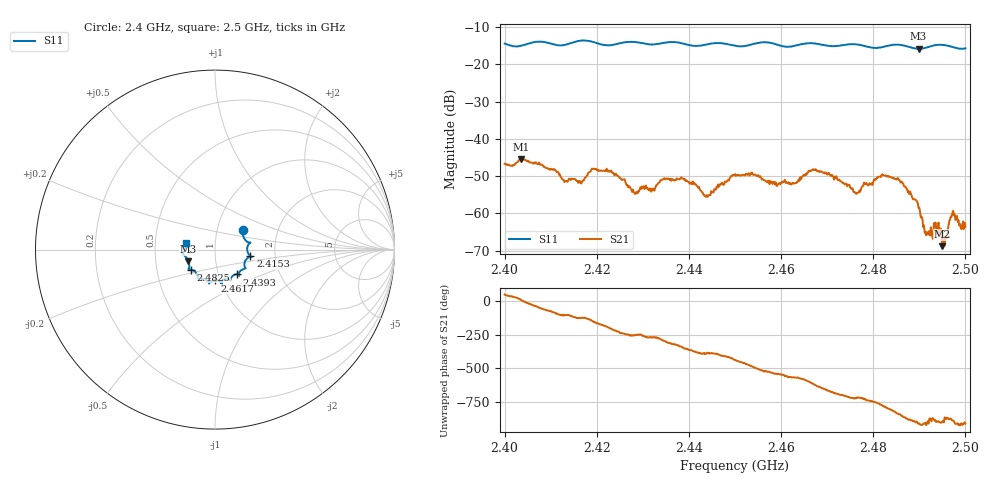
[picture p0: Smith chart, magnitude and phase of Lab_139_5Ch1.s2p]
# Hz S RI R 50
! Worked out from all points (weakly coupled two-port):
!   601 points, 2.4 GHz to 2.5 GHz, reference 50 ohm
!   highest |S21| = -45.50 dB at 2.4035 GHz (marker M1); lowest = -68.8 dB at 2.495 GHz (marker M2)
!   lowest |S11| = -15.9 dB at 2.4898 GHz (marker M3), VSWR 1.38, Z = 36.9 - j4.89 ohm
!   |S11| at or under -10 dB: start of sweep to end of sweep
!   S12 and S22 are empty: the file has one direction only
!   S11 on the Smith chart (normalised r, x): 2.4 GHz: 1.33, +0.30; 2.4153 GHz: 1.49, -0.12; 2.4393 GHz: 1.23, -0.35; 2.4617 GHz: 0.95, -0.33; 2.4825 GHz: 0.75, -0.17; 2.5 GHz: 0.72, +0.05
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2.4e9  0.1549 0.1091  0.00286 0.00364  0 0  0 0
2.4035e9  0.168 0.0547  0.00515 0.00128  0 0  0 0
2.415333e9  0.1972 -0.0373  -0.00132 -0.00256  0 0  0 0
2.416667e9  0.2039 -0.0418  -0.00137 -0.00211  0 0  0 0
2.419333e9  0.1941 -0.0409  -0.00351 -0.0018  0 0  0 0
2.4285e9  0.1684 -0.1049  -0.000618 0.00181  0 0  0 0
2.433333e9  0.1329 -0.1332  0.000283 0.00252  0 0  0 0
2.439333e9  0.1237 -0.1383  0.00268 0.000294  0 0  0 0
2.444167e9  0.086 -0.1653  0.00155 -0.000816  0 0  0 0
2.45e9  0.0665 -0.1642  0.000744 -0.00328  0 0  0 0
2.461667e9  0.00129 -0.1718  -0.00238 0.0011  0 0  0 0
2.466667e9  -0.0335 -0.189  -0.00114 0.00361  0 0  0 0
2.476333e9  -0.0942 -0.1592  0.00181 -0.000147  0 0  0 0
2.4825e9  -0.1325 -0.1114  0.00113 -0.00301  0 0  0 0
2.483333e9  -0.1398 -0.1105  0.000442 -0.00307  0 0  0 0
2.485833e9  -0.147 -0.1079  -0.00152 -0.00219  0 0  0 0
2.489833e9  -0.1477 -0.0646  -0.00115 0.00027  0 0  0 0
2.4915e9  -0.1621 -0.0416  -0.000458 0.000218  0 0  0 0
2.493667e9  -0.1798 -0.0248  -0.000638 2.51e-05  0 0  0 0
2.495e9  -0.1811 -0.0209  -0.000362 -1.11e-05  0 0  0 0
2.497167e9  -0.1707 -0.00818  -0.000982 -0.000189  0 0  0 0
2.5e9  -0.1597 0.0354  -0.000638 0.000162  0 0  0 0
